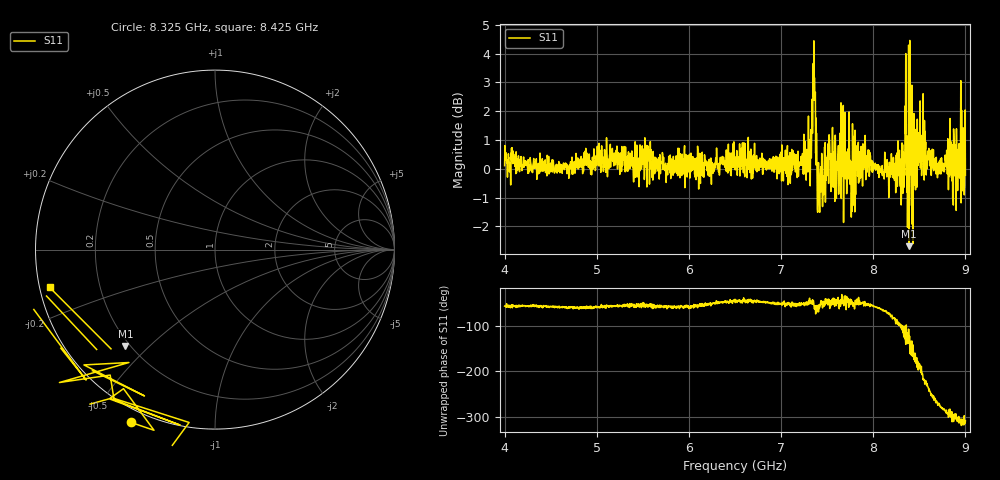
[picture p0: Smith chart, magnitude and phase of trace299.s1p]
! Created with skrf 1.8.0 (http://scikit-rf.org).
# Hz S RI R 50.0
!freq ReS11 ImS11
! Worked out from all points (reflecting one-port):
!   1601 points, 4 GHz to 9 GHz, reference 50 ohm
!   lowest |S11| = -2.7 dB at 8.388 GHz (marker M1), VSWR 6.51, Z = 9.11 - j21.2 ohm
!   phase of S11 starts at -57 deg and turns -252 deg over the sweep
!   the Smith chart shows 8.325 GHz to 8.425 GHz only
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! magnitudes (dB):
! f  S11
! 4 GHz  0.1
! 4.625 GHz  -0.2
! 5.25 GHz  -0.2
! 5.875 GHz  0.1
! 6.5 GHz  0.4
! 7.125 GHz  0.3
! 7.294 GHz  0.9
! 7.347 GHz  3.7
! 7.362 GHz  3.2
! 7.397 GHz  -1.5
! 7.412 GHz  -0.5
! 7.534 GHz  0.4
! 7.609 GHz  0.0
! 7.669 GHz  1.0
! 7.75 GHz  -0.5
! 7.775 GHz  1.6
! 7.891 GHz  0.2
! 8.312 GHz  0.9
! 8.334 GHz  0.1
! 8.375 GHz  -0.2
! 8.388 GHz  -2.7
! 8.447 GHz  1.3
! 8.459 GHz  -0.7
! 8.522 GHz  0.8
! 8.597 GHz  0.4
! 8.875 GHz  1.1
! 8.972 GHz  0.7
! 9 GHz  -0.2
